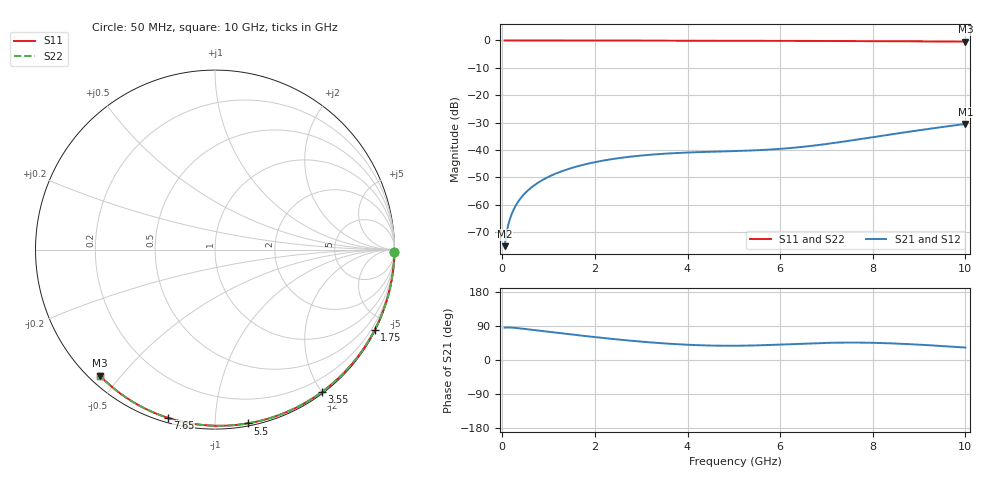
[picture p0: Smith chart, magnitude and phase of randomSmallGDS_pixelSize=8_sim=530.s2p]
! freq	dB(S11)	phase(S11)	dB(S12)	phase(S12)
!  dB(S21)	phase(S21)	dB(S22)	phase(S22)
!S-par simulation data
#  GHz  S  DB  R 50
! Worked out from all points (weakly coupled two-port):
!   200 points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, 50 MHz to 10 GHz, reference 50 ohm
!   highest |S21| = -30.52 dB at 10 GHz (marker M1); lowest = -75.2 dB at 50 MHz (marker M2)
!   lowest |S11| = -0.4 dB at 10 GHz (marker M3), VSWR 39.59, Z = 1.51 - j22 ohm
!   |S11| at or under -10 dB: nowhere
!   |S22| runs from -0.4 to 0.0 dB; largest |S21 - S12| = 0
!   S11 on the Smith chart (normalised r, x): 50 MHz: open; 1.75 GHz: 0.04, -4.19; 3.55 GHz: 0.02, -2.00; 5.5 GHz: 0.02, -1.21; 7.65 GHz: 0.02, -0.76; 10 GHz: 0.03, -0.44
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0.05  -0.00 -0.8  -75.20 85.4  -75.20 85.4  -0.00 -0.8
0.1  -0.00 -1.6  -69.46 85.8  -69.46 85.8  -0.00 -1.6
0.15  -0.00 -2.3  -66.02 85.8  -66.02 85.8  -0.00 -2.3
0.2  -0.00 -3.1  -63.56 85.5  -63.56 85.5  -0.00 -3.1
0.25  -0.00 -3.9  -61.64 85.0  -61.64 85.0  -0.00 -3.9
0.35  -0.00 -5.5  -58.75 83.8  -58.75 83.8  -0.00 -5.4
0.5  -0.01 -7.8  -55.68 81.7  -55.68 81.7  -0.01 -7.8
0.7  -0.01 -10.9  -52.82 78.9  -52.82 78.9  -0.01 -10.9
1  -0.02 -15.5  -49.84 74.5  -49.84 74.5  -0.02 -15.4
1.35  -0.03 -20.8  -47.42 69.4  -47.42 69.4  -0.03 -20.8
1.75  -0.03 -26.8  -45.44 63.8  -45.44 63.8  -0.03 -26.8
2.5  -0.05 -38.0  -43.05 54.1  -43.05 54.1  -0.05 -37.9
3.4  -0.07 -50.9  -41.51 44.6  -41.51 44.6  -0.07 -50.9
3.55  -0.07 -53.1  -41.35 43.4  -41.35 43.4  -0.07 -53.0
4.3  -0.09 -63.5  -40.79 38.8  -40.79 38.8  -0.09 -63.4
5.05  -0.11 -73.5  -40.42 37.6  -40.42 37.6  -0.11 -73.5
5.5  -0.13 -79.4  -40.13 38.6  -40.13 38.6  -0.13 -79.3
6.7  -0.18 -94.4  -38.49 44.1  -38.49 44.1  -0.18 -94.4
7.65  -0.24 -105.7  -36.27 45.9  -36.27 45.9  -0.24 -105.7
8.35  -0.29 -113.9  -34.46 44.1  -34.46 44.1  -0.29 -113.8
9.15  -0.35 -122.9  -32.46 39.5  -32.46 39.5  -0.35 -122.9
10  -0.44 -132.4  -30.52 32.8  -30.52 32.8  -0.44 -132.3
